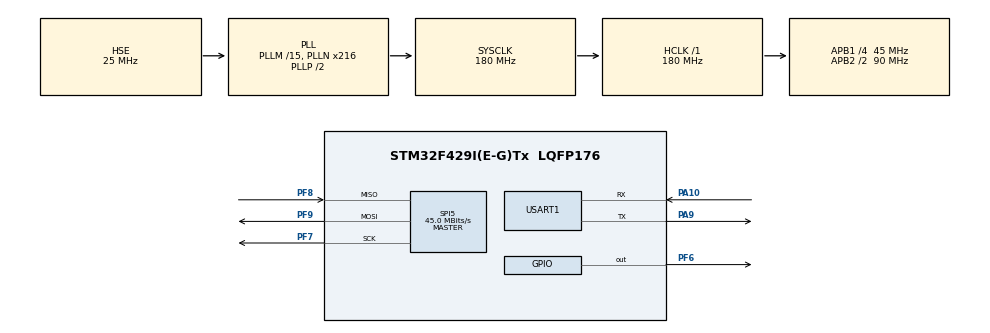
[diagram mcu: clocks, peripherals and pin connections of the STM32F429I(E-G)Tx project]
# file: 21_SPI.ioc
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Mcu.Family=STM32F4
Mcu.Name=STM32F429I(E-G)Tx
Mcu.Package=LQFP176
NVIC.PriorityGroup=NVIC_PRIORITYGROUP_4
PA10.Mode=Asynchronous
PA10.Signal=USART1_RX
PA13.Mode=Trace_Asynchronous_SW
PA13.Signal=SYS_JTMS-SWDIO
PA14.Mode=Trace_Asynchronous_SW
PA14.Signal=SYS_JTCK-SWCLK
PA9.Mode=Asynchronous
PA9.Signal=USART1_TX
PB3.Mode=Trace_Asynchronous_SW
PB3.Signal=SYS_JTDO-SWO
PC14/OSC32_IN.Mode=LSE-External-Oscillator
PC14/OSC32_IN.Signal=RCC_OSC32_IN
PC15/OSC32_OUT.Mode=LSE-External-Oscillator
PC15/OSC32_OUT.Signal=RCC_OSC32_OUT
PF6.GPIO_PuPd=GPIO_PULLUP
PF6.GPIO_Speed=GPIO_SPEED_FREQ_VERY_HIGH
PF6.PinState=GPIO_PIN_SET
PF6.Signal=GPIO_Output
PF7.GPIO_PuPd=GPIO_NOPULL
PF7.Mode=Full_Duplex_Master
PF7.Signal=SPI5_SCK
PF8.GPIO_PuPd=GPIO_NOPULL
PF8.Mode=Full_Duplex_Master
PF8.Signal=SPI5_MISO
PF9.GPIO_PuPd=GPIO_NOPULL
PF9.Mode=Full_Duplex_Master
PF9.Signal=SPI5_MOSI
PH0/OSC_IN.Mode=HSE-External-Oscillator
PH0/OSC_IN.Signal=RCC_OSC_IN
PH1/OSC_OUT.Mode=HSE-External-Oscillator
PH1/OSC_OUT.Signal=RCC_OSC_OUT
ProjectManager.HeapSize=0x200
ProjectManager.StackSize=0x400
ProjectManager.TargetToolchain=STM32CubeIDE
RCC.48MHZClocksFreq_Value=90000000
RCC.AHBFreq_Value=180000000
RCC.APB1CLKDivider=RCC_HCLK_DIV4
RCC.APB1Freq_Value=45000000
RCC.APB1TimFreq_Value=90000000
RCC.APB2CLKDivider=RCC_HCLK_DIV2
RCC.APB2Freq_Value=90000000
RCC.APB2TimFreq_Value=180000000
RCC.CortexFreq_Value=180000000
RCC.HCLKFreq_Value=180000000
RCC.HSE_VALUE=25000000
RCC.HSI_VALUE=16000000
RCC.PLLM=15
RCC.PLLN=216
RCC.PLLSourceVirtual=RCC_PLLSOURCE_HSE
RCC.SYSCLKFreq_VALUE=180000000
RCC.SYSCLKSource=RCC_SYSCLKSOURCE_PLLCLK
RCC.VCOOutputFreq_Value=360000000
SPI5.BaudRatePrescaler=SPI_BAUDRATEPRESCALER_2
SPI5.CLKPhase=SPI_PHASE_2EDGE
SPI5.CLKPolarity=SPI_POLARITY_HIGH
SPI5.CalculateBaudRate=45.0 MBits/s
SPI5.Direction=SPI_DIRECTION_2LINES
SPI5.Mode=SPI_MODE_MASTER
SPI5.VirtualType=VM_MASTER
USART1.VirtualMode=VM_ASYNC
board=custom

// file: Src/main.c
/* USER CODE BEGIN Header */
/**
 ******************************************************************************
 * @file           : main.c
 * @brief          : Main program body
 ******************************************************************************
 * @attention
 *
 * <h2><center>&copy; Copyright (c) 2019 STMicroelectronics.
 * All rights reserved.</center></h2>
 *
 * This software component is licensed by ST under BSD 3-Clause license,
 * the "License"; You may not use this file except in compliance with the
 * License. You may obtain a copy of the License at:
 *                        opensource.org/licenses/BSD-3-Clause
 *
 ******************************************************************************
 */
//BLOCK > Sector > page
//w25q256 has 512 blocks,each block is 64KB
//each block has 16 sector, each sector is 4KB
//each sector has 16 pages, each page is 258B
//
/* USER CODE END Header */

#include "main.h"
#include "spi.h"
#include "usart.h"
#include "gpio.h"

/* USER CODE BEGIN Includes */
#include <stdio.h>
#include "W25Q256.h"
/* USER CODE END Includes */

/* USER CODE BEGIN PTD */
#ifdef __GNUC__
#define PUTCHAR_PROTOTYPE int __io_putchar(int ch)
#else
#define PUTCHAR_PROTOTYPE int fputc(int ch, FILE *f)
#endif
PUTCHAR_PROTOTYPE
{
    while ((USART1->SR & 0X40) == 0);
    USART1->DR = (uint8_t) ch;
    return ch;
}
/* USER CODE END PTD */

/* USER CODE BEGIN PV */
uint8_t data_send = 0;
uint8_t data_receive = 0;
uint8_t address_cmd[] = { 0x90, 0x00, 0x00, 0x00 };
uint16_t receive_data_16 = 0;

uint8_t send_buf[8192] = "";
uint8_t receive_buf[8192] = "";

char t1[30] = "Hello W25Q256\r\n";
char r1[30] = "";

/* USER CODE END PV */

void SystemClock_Config(void);

int main(void)
{

  /* MCU Configuration--------------------------------------------------------*/

  /* Reset of all peripherals, Initializes the Flash interface and the Systick. */
  HAL_Init();

  /* Configure the system clock */
  SystemClock_Config();

  /* Initialize all configured peripherals */
  MX_GPIO_Init();
  MX_SPI5_Init();
  MX_USART1_UART_Init();
  /* USER CODE BEGIN 2 */
    printf ("Start\r\n");

    W25Q256_Init ();

//    W25Q256_Read (0x02, 256, receive_buf);
//    HAL_Delay (10);
//
//    printf ("block erase start\r\n");
//    W25Q256_Erase_Sector (0x02);
//    printf ("block erase done\r\n");
//    W25Q256_Read (0x02, 256, receive_buf);
//    HAL_Delay (10);
//
//    W25Q256_Write_page (0x02, 30, (uint8_t*) t1);
//    HAL_Delay (10);
//    W25Q256_Read (0x02, 30, (uint8_t*) r1);
//    HAL_Delay (10);
//    printf ("%s\r\n", t1);
    int total_data = 4096;
    uint32_t address = 0x1000;
    printf ("finish init\r\n");

    for (int i = 0; i < total_data; i++)
    {
	send_buf[i] = i % 256;
    }
    W25Q256_Erase_Sector (0x1000);
    //W25Q256_Erase_Sector (0x2000);
    printf ("Start write\r\n");
    W25QXX_Write (address, total_data, send_buf);
    printf ("Start read\r\n");
    W25Q256_Read (address, total_data, receive_buf);
    printf ("Start check\r\n");
    int error = 0;
    for (int k = 0; k < total_data; k++)
    {
	if (send_buf[k] != receive_buf[k])
	{
	    error++;
	    printf ("%d \t %d\t%d\r\n", k, send_buf[k], receive_buf[k]);
	}
    }
    printf ("check done,total error %d\r\n", error);
  /* USER CODE END 2 */

  /* Infinite loop */
    while (1)
    {

    }
}

void SystemClock_Config(void)
{
  RCC_OscInitTypeDef RCC_OscInitStruct = {0};
  RCC_ClkInitTypeDef RCC_ClkInitStruct = {0};

  /** Configure the main internal regulator output voltage
  */
  __HAL_RCC_PWR_CLK_ENABLE();
  __HAL_PWR_VOLTAGESCALING_CONFIG(PWR_REGULATOR_VOLTAGE_SCALE1);
  /** Initializes the CPU, AHB and APB busses clocks
  */
  RCC_OscInitStruct.OscillatorType = RCC_OSCILLATORTYPE_HSE;
  RCC_OscInitStruct.HSEState = RCC_HSE_ON;
  RCC_OscInitStruct.PLL.PLLState = RCC_PLL_ON;
  RCC_OscInitStruct.PLL.PLLSource = RCC_PLLSOURCE_HSE;
  RCC_OscInitStruct.PLL.PLLM = 15;
  RCC_OscInitStruct.PLL.PLLN = 216;
  RCC_OscInitStruct.PLL.PLLP = RCC_PLLP_DIV2;
  RCC_OscInitStruct.PLL.PLLQ = 4;
  if (HAL_RCC_OscConfig(&RCC_OscInitStruct) != HAL_OK)
  {
    Error_Handler();
  }
  /** Activate the Over-Drive mode
  */
  if (HAL_PWREx_EnableOverDrive() != HAL_OK)
  {
    Error_Handler();
  }
  /** Initializes the CPU, AHB and APB busses clocks
  */
  RCC_ClkInitStruct.ClockType = RCC_CLOCKTYPE_HCLK|RCC_CLOCKTYPE_SYSCLK
                              |RCC_CLOCKTYPE_PCLK1|RCC_CLOCKTYPE_PCLK2;
  RCC_ClkInitStruct.SYSCLKSource = RCC_SYSCLKSOURCE_PLLCLK;
  RCC_ClkInitStruct.AHBCLKDivider = RCC_SYSCLK_DIV1;
  RCC_ClkInitStruct.APB1CLKDivider = RCC_HCLK_DIV4;
  RCC_ClkInitStruct.APB2CLKDivider = RCC_HCLK_DIV2;

  if (HAL_RCC_ClockConfig(&RCC_ClkInitStruct, FLASH_LATENCY_5) != HAL_OK)
  {
    Error_Handler();
  }
}

/* USER CODE BEGIN 4 */

//int _write (int file,char*ptr,int len)
//{
//    int DataIdx;
//    for (DataIdx = 0; DataIdx < len; DataIdx++)
//    {
//	ITM_SendChar (*ptr++);
//    }
//    return len;
//}
/* USER CODE END 4 */

void Error_Handler(void)
{
}

/************************ (C) COPYRIGHT STMicroelectronics *****END OF FILE****/
